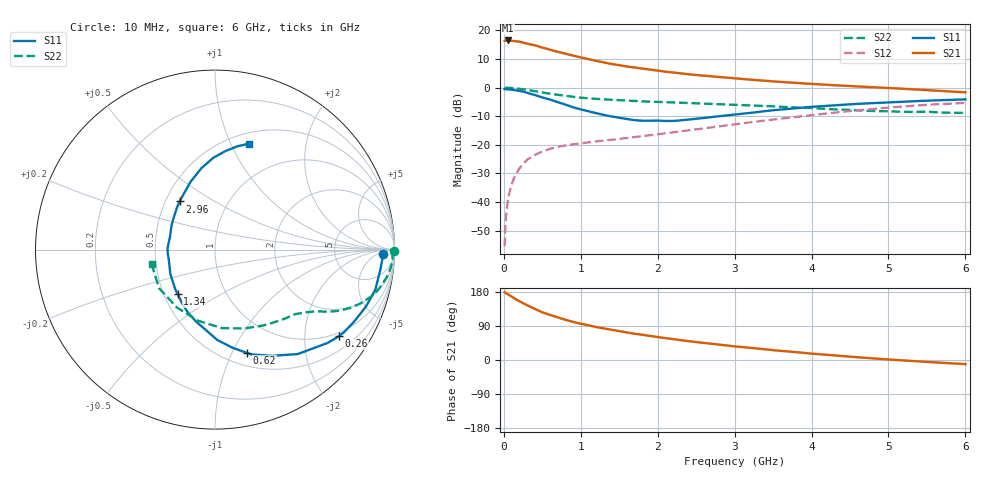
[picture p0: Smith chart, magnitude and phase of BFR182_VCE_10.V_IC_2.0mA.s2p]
! Infineon Technologies  Discrete & RF Semiconductors
! BFR182
! VCE =  10. V,  IC =  2.0 mA
! Common Emitter S-Parameters:  Nov 2015
# GHz  S  MA  R  50
!  f  S11  S21  S12  S22
! GHz  MAG  ANG  MAG  ANG  MAG  ANG  MAG  ANG
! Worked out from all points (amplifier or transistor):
!   210 points, 10 MHz to 6 GHz, reference 50 ohm
!   highest |S21| = 16.4 dB at 50 MHz (marker M1)
!   |S21| within 3 dB of that: start of sweep to 566.7 MHz
!   unconditionally stable (mu >= 1): 1.531 GHz to 3.209 GHz
!   at 185 MHz: K = 0.18, MSG = 22.5 dB, |S12| = -29.0 dB
!   at 1.52 GHz: K = 1.00, MSG = 12.8 dB, |S12| = -17.9 dB
!   at 6 GHz: K = 0.89, MSG = 1.8 dB, |S12| = -5.3 dB
!   S11 on the Smith chart (normalised r, x): 10 MHz: 26, -10; 260 MHz: 0.88, -2.94; 620 MHz: 0.63, -1.15; 1.34 GHz: 0.59, -0.33; 2.96 GHz: 0.59, +0.36; 6 GHz: 0.61, +1.18
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0.01  0.9356 -1.4  6.584 178.8  0.0017 87.5  0.9955 -0.6
0.025  0.9335 -3.4  6.52 176.6  0.0048 88.5  0.9882 -1.5
0.05  0.928 -7.0  6.627 173.8  0.0101 85.9  0.9911 -3.1
0.1  0.9208 -14.1  6.572 167.9  0.0199 83.1  0.9833 -6.1
0.155  0.8959 -21.3  6.403 160.4  0.0305 77.1  0.9685 -9.3
0.2  0.8722 -27.5  6.334 155.3  0.0382 74.0  0.9511 -11.8
0.26  0.8428 -34.9  6.023 148.8  0.0479 69.9  0.9283 -14.7
0.4  0.7426 -51.6  5.484 135.0  0.0665 62.3  0.8632 -20.4
0.5  0.6717 -61.8  4.984 125.8  0.0762 58.2  0.8171 -23.5
0.62  0.6035 -72.7  4.482 117.6  0.0865 54.4  0.7723 -26.0
0.8  0.504 -88.5  3.872 106.0  0.0976 50.9  0.7151 -28.9
0.9  0.452 -96.3  3.597 100.3  0.1021 49.9  0.6869 -30.1
1.02  0.4088 -106.0  3.305 94.8  0.1068 49.6  0.6611 -31.4
1.2  0.3564 -120.2  2.92 87.0  0.1144 49.1  0.6332 -33.3
1.34  0.3235 -130.1  2.673 81.9  0.1202 49.3  0.6169 -34.5
1.7  0.2689 -160.9  2.236 69.3  0.1362 51.8  0.5802 -38.0
2.02  0.2635 176.7  1.946 60.0  0.1538 53.4  0.56 -41.7
2.96  0.3326 126.3  1.457 36.9  0.2239 55.3  0.5028 -56.8
3.1  0.348 121.5  1.407 34.1  0.2369 54.8  0.4926 -59.9
4.1  0.4694 97.7  1.135 15.3  0.3413 48.6  0.4293 -88.4
5.1  0.5582 82.8  0.966 0.1  0.4562 36.6  0.3801 -127.7
6  0.621 72.0  0.824 -10.8  0.5404 22.6  0.3621 -167.1
